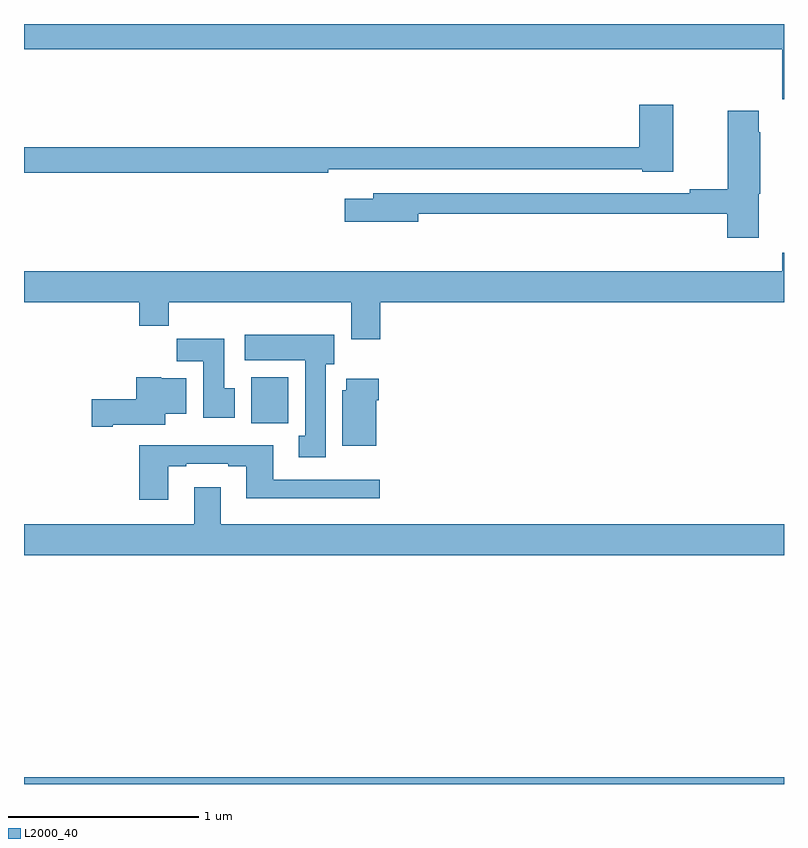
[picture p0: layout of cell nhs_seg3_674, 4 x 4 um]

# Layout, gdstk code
import gdstk
lib = gdstk.Library(unit=1e-6, precision=1e-09)
def R(c, l, rs):  # rectangles x0, y0, x1, y1
    for r in rs: c.add(gdstk.rectangle(r[:2], r[2:], *l))
def P(c, l, *ps):  # polygons
    for p in ps: c.add(gdstk.Polygon(p, *l))
L2000_40 = (2000, 40)

nhs_seg3_674 = lib.new_cell('nhs_seg3_674')
R(nhs_seg3_674, L2000_40, [(145,678.4,149,678.436), (146.195,680.3,146.392,680.542)])
P(nhs_seg3_674, L2000_40, [(149,682.4),(145,682.4),(145,682.268),(148.991,682.268),(148.991,682.003),(149,682.003)],
  [(146.6,681.636),(148.254,681.636),(148.254,681.623),(148.416,681.623),(148.416,681.976),(148.238,681.976),(148.238,681.752),(145,681.752),(145,681.616),(146.6,681.616)],
  [(148.867,681.507),(148.875,681.507),(148.875,681.83),(148.867,681.83),(148.867,681.943),(148.705,681.943),(148.705,681.53),(148.504,681.53),(148.504,681.51),(146.837,681.51),(146.837,681.481),(146.688,681.481),(146.688,681.359),(147.076,681.359),(147.076,681.402),(148.7,681.402),(148.7,681.276),(148.867,681.276)],
  [(146.876,680.936),(149,680.936),(149,681.196),(148.991,681.196),(148.991,681.1),(145,681.1),(145,680.936),(145.607,680.936),(145.607,680.812),(145.763,680.812),(145.763,680.936),(146.723,680.936),(146.723,680.742),(146.876,680.742)],
  [(146.587,680.61),(146.632,680.61),(146.632,680.764),(146.163,680.764),(146.163,680.63),(146.48,680.63),(146.48,680.234),(146.447,680.234),(146.447,680.121),(146.587,680.121)],
  [(146.11,680.484),(146.053,680.484),(146.053,680.743),(145.804,680.743),(145.804,680.624),(145.943,680.624),(145.943,680.328),(146.11,680.328)],
  [(145.468,680.291),(145.744,680.291),(145.744,680.348),(145.855,680.348),(145.855,680.536),(145.722,680.536),(145.722,680.542),(145.592,680.542),(145.592,680.426),(145.356,680.426),(145.356,680.279),(145.468,680.279)],
  [(146.854,680.42),(146.867,680.42),(146.867,680.533),(146.696,680.533),(146.696,680.472),(146.675,680.472),(146.675,680.18),(146.854,680.18)],
  [(145.759,680.073),(145.855,680.073),(145.855,680.085),(146.075,680.085),(146.075,680.073),(146.171,680.073),(146.171,679.904),(146.872,679.904),(146.872,680.001),(146.311,680.001),(146.311,680.182),(145.607,680.182),(145.607,679.896),(145.759,679.896)],
  [(149,679.768),(146.035,679.768),(146.035,679.963),(145.895,679.963),(145.895,679.768),(145,679.768),(145,679.604),(149,679.604)])

lib.write_gds('nhs_seg3_674.gds')
